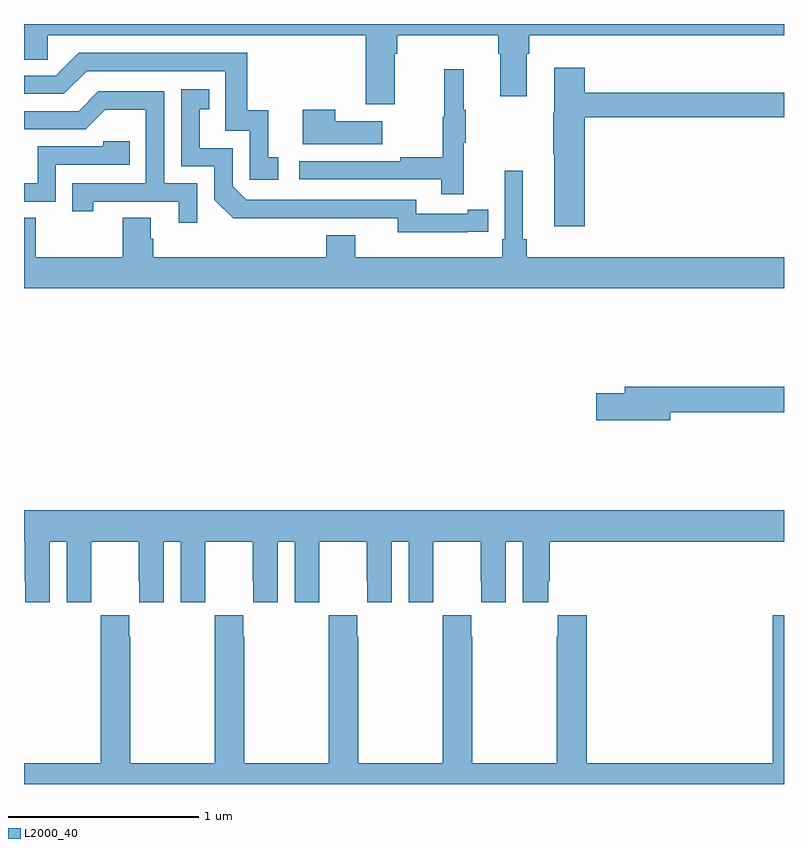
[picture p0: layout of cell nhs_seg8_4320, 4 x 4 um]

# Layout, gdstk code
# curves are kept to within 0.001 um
import gdstk
lib = gdstk.Library(unit=1e-6, precision=1e-09)
def P(c, l, *ps):  # polygons
    for p in ps: c.add(gdstk.Polygon(p, *l))
L2000_40 = (2000, 40)

nhs_seg8_4320 = lib.new_cell('nhs_seg8_4320')
P(nhs_seg8_4320, L2000_40, [(376.951,1109.744),(376.964,1109.744),(376.964,1109.84),(377.495,1109.84),(377.495,1109.744),(377.507,1109.744),(377.507,1109.52),(377.647,1109.52),(377.647,1109.744),(377.66,1109.744),(377.66,1109.84),(379,1109.84),(379,1109.9),(375,1109.9),(375,1109.713),(375.126,1109.713),(375.126,1109.84),(376.799,1109.84),(376.799,1109.478),(376.951,1109.478)],
  [(376.339,1109.199),(376.286,1109.199),(376.286,1109.446),(376.175,1109.446),(376.175,1109.748),(375.288,1109.748),(375.168,1109.628),(375,1109.628),(375,1109.532),(375.21,1109.532),(375.33,1109.652),(376.059,1109.652),(376.059,1109.337),(376.188,1109.337),(376.188,1109.079),(376.339,1109.079)],
  [(377.951,1109.41),(379,1109.41),(379,1109.539),(377.951,1109.539),(377.951,1109.671),(377.792,1109.671),(377.792,1109.433),(377.785,1109.433),(377.785,1109.215),(377.792,1109.215),(377.792,1108.836),(377.951,1108.836)],
  [(377.315,1109.275),(377.326,1109.275),(377.326,1109.449),(377.315,1109.449),(377.315,1109.662),(377.212,1109.662),(377.212,1109.412),(377.205,1109.412),(377.205,1109.198),(376.981,1109.198),(376.981,1109.178),(376.449,1109.178),(376.449,1109.082),(377.197,1109.082),(377.197,1109.004),(377.315,1109.004)],
  [(377.336,1108.806),(377.444,1108.806),(377.444,1108.922),(377.336,1108.922),(377.336,1108.902),(377.064,1108.902),(377.064,1108.974),(376.17,1108.974),(376.098,1109.046),(376.098,1109.247),(375.925,1109.247),(375.925,1109.451),(375.974,1109.451),(375.974,1109.557),(375.828,1109.557),(375.828,1109.151),(376.002,1109.151),(376.002,1108.974),(376.1,1108.877),(376.968,1108.878),(376.968,1108.805)],
  [(375.912,1109.061),(375.738,1109.061),(375.738,1109.547),(375.392,1109.547),(375.287,1109.442),(375,1109.442),(375,1109.346),(375.324,1109.346),(375.428,1109.45),(375.642,1109.45),(375.642,1109.061),(375.253,1109.061),(375.253,1108.914),(375.364,1108.914),(375.364,1108.965),(375.815,1108.965),(375.815,1108.854),(375.912,1108.854)],
  [(376.885,1109.389),(376.637,1109.389),(376.637,1109.449),(376.466,1109.449),(376.466,1109.267),(376.885,1109.267)],
  [(375.168,1109.16),(375.557,1109.16),(375.557,1109.283),(375.417,1109.283),(375.417,1109.256),(375.072,1109.256),(375.072,1109.061),(375,1109.061),(375,1108.965),(375.168,1108.965)],
  [(379,1108.672),(377.645,1108.672),(377.645,1108.768),(377.626,1108.768),(377.626,1109.128),(377.529,1109.128),(377.529,1108.768),(377.516,1108.768),(377.516,1108.672),(376.744,1108.672),(376.744,1108.789),(376.592,1108.789),(376.592,1108.672),(375.68,1108.672),(375.68,1108.77),(375.667,1108.77),(375.667,1108.88),(375.52,1108.88),(375.52,1108.672),(375.063,1108.672),(375.063,1108.88),(375,1108.88),(375,1108.508),(379,1108.508)],
  [(378.4,1107.856),(379,1107.856),(379,1107.992),(378.161,1107.992),(378.161,1107.956),(378.012,1107.956),(378.012,1107.814),(378.4,1107.814)],
  [(375,1107.176),(375.005,1107.176),(375.005,1106.968),(375.006,1106.968),(375.006,1106.856),(375.136,1106.856),(375.136,1107.176),(375.224,1107.176),(375.224,1106.856),(375.354,1106.856),(375.354,1106.968),(375.355,1106.968),(375.355,1107.176),(375.605,1107.176),(375.605,1106.968),(375.606,1106.968),(375.606,1106.856),(375.736,1106.856),(375.736,1107.176),(375.824,1107.176),(375.824,1106.856),(375.954,1106.856),(375.954,1106.968),(375.955,1106.968),(375.955,1107.176),(376.205,1107.176),(376.205,1106.968),(376.206,1106.968),(376.206,1106.856),(376.336,1106.856),(376.336,1107.176),(376.424,1107.176),(376.424,1106.856),(376.554,1106.856),(376.554,1106.968),(376.555,1106.968),(376.555,1107.176),(376.805,1107.176),(376.805,1106.968),(376.806,1106.968),(376.806,1106.856),(376.936,1106.856),(376.936,1107.176),(377.024,1107.176),(377.024,1106.856),(377.154,1106.856),(377.154,1106.968),(377.155,1106.968),(377.155,1107.176),(377.405,1107.176),(377.405,1106.968),(377.406,1106.968),(377.406,1106.856),(377.536,1106.856),(377.536,1107.176),(377.624,1107.176),(377.624,1106.856),(377.758,1106.856),(377.758,1106.968),(377.768,1106.968),(377.768,1107.176),(379,1107.176),(379,1107.34),(375,1107.34)],
  [(379,1106.788),(378.941,1106.788),(378.941,1106.008),(377.963,1106.008),(377.963,1106.788),(377.809,1106.788),(377.809,1106.675),(377.803,1106.675),(377.803,1106.008),(377.358,1106.008),(377.358,1106.675),(377.355,1106.675),(377.355,1106.788),(377.205,1106.788),(377.205,1106.675),(377.203,1106.675),(377.203,1106.008),(376.758,1106.008),(376.758,1106.675),(376.755,1106.675),(376.755,1106.788),(376.605,1106.788),(376.605,1106.675),(376.603,1106.675),(376.603,1106.008),(376.158,1106.008),(376.158,1106.675),(376.155,1106.675),(376.155,1106.788),(376.005,1106.788),(376.005,1106.675),(376.003,1106.675),(376.003,1106.008),(375.558,1106.008),(375.558,1106.675),(375.555,1106.675),(375.555,1106.788),(375.405,1106.788),(375.405,1106.675),(375.403,1106.675),(375.403,1106.008),(375,1106.008),(375,1105.9),(379,1105.9)])

lib.write_gds('nhs_seg8_4320.gds')
